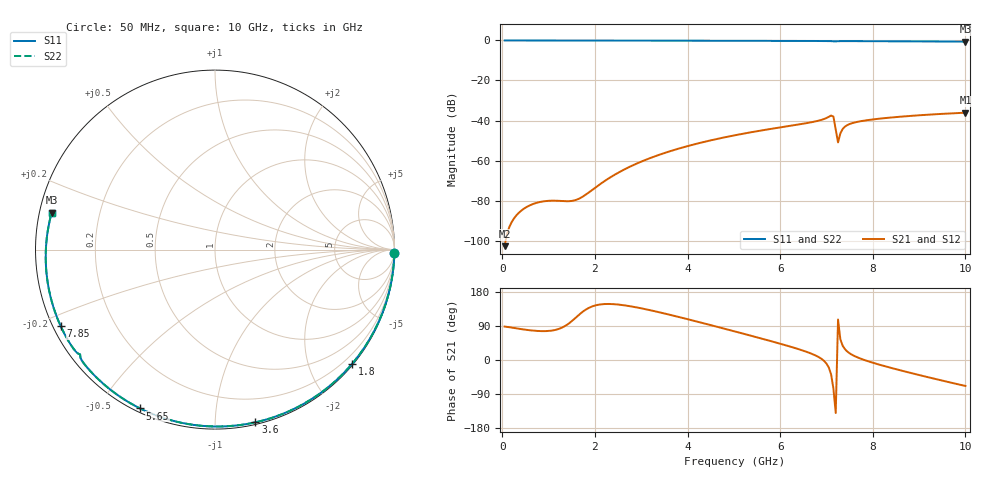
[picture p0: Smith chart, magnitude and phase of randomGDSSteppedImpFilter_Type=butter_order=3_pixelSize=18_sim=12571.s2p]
! freq	dB(S11)	phase(S11)	dB(S12)	phase(S12)
!  dB(S21)	phase(S21)	dB(S22)	phase(S22)
!S-par simulation data
#  GHz  S  DB  R 50
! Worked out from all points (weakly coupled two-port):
!   200 points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, 50 MHz to 10 GHz, reference 50 ohm
!   highest |S21| = -36.11 dB at 10 GHz (marker M1); lowest = -102.8 dB at 50 MHz (marker M2)
!   lowest |S11| = -0.6 dB at 10 GHz (marker M3), VSWR 28.80, Z = 1.76 + j5.58 ohm
!   |S11| at or under -10 dB: nowhere
!   |S22| runs from -0.6 to 0.0 dB; largest |S21 - S12| = 0
!   S11 on the Smith chart (normalised r, x): 50 MHz: open; 1.8 GHz: 0.03, -2.76; 3.6 GHz: 0.02, -1.26; 5.65 GHz: 0.02, -0.63; 7.85 GHz: 0.02, -0.23; 10 GHz: 0.04, +0.11
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0.05  -0.00 -1.1  -102.80 88.2  -102.80 88.2  -0.00 -1.1
0.8  -0.02 -17.9  -80.79 76.4  -80.79 76.4  -0.02 -17.9
1.55  -0.04 -34.4  -79.96 107.8  -79.96 107.8  -0.04 -34.4
1.75  -0.05 -38.7  -77.86 128.5  -77.86 128.5  -0.05 -38.7
1.8  -0.05 -39.8  -77.09 132.7  -77.09 132.7  -0.05 -39.8
2.55  -0.07 -55.6  -65.50 145.7  -65.50 145.7  -0.07 -55.6
3.4  -0.10 -72.9  -57.04 125.7  -57.04 125.7  -0.10 -72.9
3.6  -0.10 -76.9  -55.51 119.9  -55.51 119.9  -0.10 -76.9
4.3  -0.13 -90.4  -51.02 98.4  -51.02 98.4  -0.13 -90.4
5.05  -0.16 -104.3  -47.26 74.5  -47.26 74.5  -0.16 -104.3
5.65  -0.19 -115.2  -44.76 54.9  -44.76 54.9  -0.19 -115.2
6.7  -0.26 -133.8  -40.75 15.5  -40.75 15.5  -0.26 -133.8
7.1  -0.34 -141.2  -37.54 -37.9  -37.54 -37.9  -0.34 -141.2
7.15  -0.42 -142.0  -38.04 -75.2  -38.04 -75.2  -0.42 -142.0
7.25  -0.37 -142.8  -50.96 106.7  -50.96 106.7  -0.37 -142.8
7.3  -0.34 -143.8  -46.44 54.6  -46.44 54.6  -0.34 -143.8
7.4  -0.33 -145.6  -43.05 28.5  -43.05 28.5  -0.33 -145.6
7.55  -0.33 -148.3  -41.36 13.9  -41.36 13.9  -0.33 -148.3
7.85  -0.36 -153.6  -39.93 -1.3  -39.93 -1.3  -0.36 -153.6
8.35  -0.41 -162.4  -38.60 -19.3  -38.60 -19.3  -0.41 -162.4
9.2  -0.50 -177.7  -37.09 -45.6  -37.09 -45.6  -0.50 -177.7
10  -0.60 167.3  -36.11 -68.5  -36.11 -68.5  -0.60 167.3
